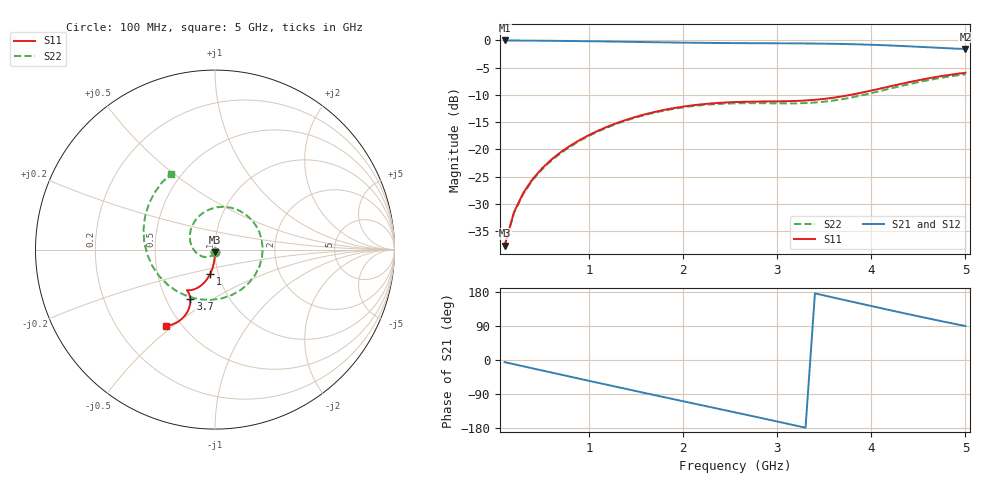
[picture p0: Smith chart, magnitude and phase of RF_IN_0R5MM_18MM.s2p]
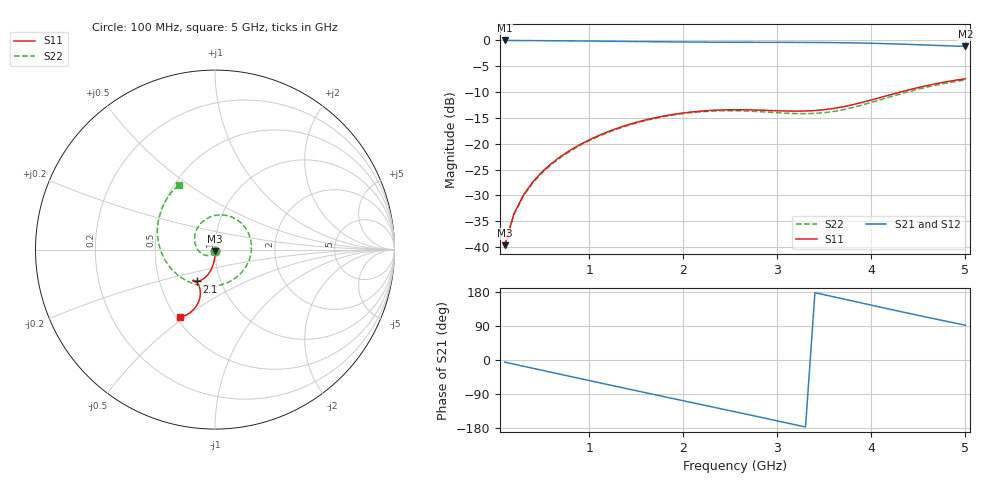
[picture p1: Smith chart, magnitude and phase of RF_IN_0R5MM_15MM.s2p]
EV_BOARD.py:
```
import skrf as rf
import matplotlib.pyplot as plt
from Functions import PLOT_s_db_Dir
from Functions import PLOT_s_db_Netw
from Functions import read_file
from skrf import Network
import numpy as np

plt.rcParams["font.family"] = "Century Gothic"
plt.rcParams["font.size"] = "14"

#Formula on plot
#https://latex.codecogs.com/eqneditor/editor.php

#First Directory
File_1 = 'Files/EV_BOARD/RF_IN_0R5MM_18MM.s2p'
File_1_label = '1.8 мм'

#Second Directory
File_2 = 'Files/EV_BOARD/RF_IN_0R5MM_15MM.s2p'
File_2_label = '1.5 мм'

File_3 = 'Files/EV_BOARD/RF_IN_Thru.s2p'
File_3_label = 'Thru'

list = ['0R2', '0R5', '1R0']
list_names = ['0.2мм', '0.5мм', '1.0мм']


epsilon = 4.7
c = 3e8
Freq = np.linspace(start=1e9, stop=5e9, num=100)
lamb= c/(Freq*np.sqrt(epsilon))
lamb_4 = lamb/4

plt.plot(Freq, lamb_4*1000, linewidth='3')
plt.ylabel(r'$\frac{\lambda }{4}$, мм,')
plt.xlabel('F, Гц')
plt.grid()



'''
for i in range(len(list)):
    NET = rf.Network(f'Files/EV_BOARD/RF_IN_{list[i]}MM_15MM.s2p')
    PLOT_s_db_Netw(NET, label=list_names[i], N_fig=1, sp=11)
    plt.grid()
    PLOT_s_db_Netw(NET, label=list_names[i], N_fig=2, sp=21)
    plt.grid()
    plt.figure(3)
    NET.plot_s_smith(1 - 1, 1 - 1, label=list_names[i], linewidth='3')
    plt.ylabel('S11')
plt.grid()
plt.show()


Data_1 = rf.Network(File_1)
Data_2 = rf.Network(File_2)
Data_3 = rf.Network(File_3)

PLOT_s_db_Netw(Data_1, label=File_1_label, N_fig=4, sp=11)
PLOT_s_db_Netw(Data_2, label=File_2_label, N_fig=4, sp=11)
plt.grid()
PLOT_s_db_Netw(Data_1, label=File_1_label, N_fig=5, sp=21)
PLOT_s_db_Netw(Data_2, label=File_2_label, N_fig=5, sp=21)
plt.grid()

plt.figure()
Data_1.plot_s_smith(1-1, 1-1, label=File_1_label, linewidth='3')
Data_2.plot_s_smith(1-1, 1-1, label=File_2_label, linewidth='3')
plt.ylabel('S11')



PLOT_s_db_Netw(Data_3, label=File_3_label, N_fig=7, sp=11)
plt.grid()
PLOT_s_db_Netw(Data_3, label=File_3_label, N_fig=8, sp=21)
plt.grid()
plt.figure()
Data_3.plot_s_smith(1-1, 1-1, label=File_3_label, linewidth='3')
plt.ylabel('S11')
'''
plt.show()
```
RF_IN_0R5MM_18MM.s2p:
! Created Tue Jul 13 10:25:20 2021
! List of port names and net name(s): example Port n = <port_name> <net_name1> <net_name2> ...
! Port 1 = P1 RF_IN GND GND
! Port 2 = P2 NetDD1_9 GND
# hz S ri R 50
! 2 Port Network Data from data block
! freq  reS11  imS11  reS21  imS21  reS12  imS12  reS22  imS22
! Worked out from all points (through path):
!   50 points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, 100 MHz to 5 GHz, reference 50 ohm
!   highest |S21| = -0.01 dB at 100 MHz (marker M1); lowest = -1.6 dB at 5 GHz (marker M2)
!   group delay of S21, straight-line fit = 150 ps
!   lowest |S11| = -37.6 dB at 100 MHz (marker M3), VSWR 1.03, Z = 50 - j1.32 ohm
!   |S11| at or under -10 dB: start of sweep to 3.774 GHz
!   |S22| runs from -37.7 to -6.2 dB; largest |S21 - S12| = 0
!   S11 on the Smith chart (normalised r, x): 100 MHz: 1.00, -0.03; 1 GHz: 0.92, -0.25; 3.7 GHz: 0.66, -0.40; 5 GHz: 0.41, -0.47
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1e8  0.000435 -0.0132  0.9936 -0.0974  0.9936 -0.0974  -0.00179 -0.0129
2e8  -0.000109 -0.0267  0.9784 -0.1926  0.9784 -0.1926  -0.0087 -0.0248
4e8  -0.00283 -0.0537  0.9208 -0.3751  0.9208 -0.3751  -0.0343 -0.0401
1e9  -0.026 -0.1335  0.5624 -0.8049  0.5624 -0.8049  -0.1316 0.0232
1.4e9  -0.0561 -0.1794  0.2221 -0.945  0.2221 -0.945  -0.1256 0.136
1.8e9  -0.094 -0.2109  -0.1378 -0.9491  -0.1378 -0.9491  -0.026 0.226
2.6e9  -0.1522 -0.2265  -0.7317 -0.5958  -0.7317 -0.5958  0.2463 0.0991
3.1e9  -0.1536 -0.2306  -0.9183 -0.1985  -0.9183 -0.1985  0.2236 -0.1411
3.7e9  -0.1375 -0.2754  -0.8655 0.3309  -0.8655 0.3309  -0.0845 -0.2773
4.4e9  -0.1744 -0.3753  -0.4492 0.7591  -0.4492 0.7591  -0.3944 0.0428
5e9  -0.2721 -0.4252  0.0057 0.8328  0.0057 0.8328  -0.2454 0.4229
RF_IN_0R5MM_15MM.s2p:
! Created Tue Jul 13 13:06:56 2021
! List of port names and net name(s): example Port n = <port_name> <net_name1> <net_name2> ...
! Port 1 = P1 RF_IN GND GND
! Port 2 = P2 NetDD1_9 GND
# hz S ri R 50
! 2 Port Network Data from data block
! freq  reS11  imS11  reS21  imS21  reS12  imS12  reS22  imS22
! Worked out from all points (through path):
!   50 points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, 100 MHz to 5 GHz, reference 50 ohm
!   highest |S21| = -0.01 dB at 100 MHz (marker M1); lowest = -1.2 dB at 5 GHz (marker M2)
!   group delay of S21, straight-line fit = 149 ps
!   lowest |S11| = -39.7 dB at 100 MHz (marker M3), VSWR 1.02, Z = 50 - j1.04 ohm
!   |S11| at or under -10 dB: start of sweep to 4.308 GHz
!   |S22| runs from -39.8 to -7.7 dB; largest |S21 - S12| = 0
!   S11 on the Smith chart (normalised r, x): 100 MHz: 1.00, -0.02; 2.1 GHz: 0.77, -0.29; 5 GHz: 0.52, -0.48
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1e8  0.000531 -0.0104  0.9938 -0.0959  0.9938 -0.0959  -0.00124 -0.0101
2e8  0.000202 -0.0211  0.9791 -0.1896  0.9791 -0.1896  -0.00666 -0.0196
3e8  -0.000559 -0.0319  0.9556 -0.2812  0.9556 -0.2812  -0.0154 -0.0271
7e8  -0.00804 -0.0753  0.7801 -0.6107  0.7801 -0.6107  -0.0697 -0.0251
1.4e9  -0.0444 -0.1448  0.2416 -0.9469  0.2416 -0.9469  -0.1048 0.1063
2.1e9  -0.0998 -0.1774  -0.3741 -0.888  -0.3741 -0.888  0.0587 0.1918
2.6e9  -0.1232 -0.1742  -0.7266 -0.6254  -0.7266 -0.6254  0.186 0.0929
3.2e9  -0.1115 -0.1742  -0.9459 -0.1424  -0.9459 -0.1424  0.1489 -0.1272
3.7e9  -0.0861 -0.2111  -0.8984 0.3055  -0.8984 0.3055  -0.0635 -0.2039
4.4e9  -0.1047 -0.3155  -0.4988 0.7667  -0.4988 0.7667  -0.3165 0.0457
5e9  -0.1964 -0.377  -0.0282 0.8738  -0.0282 0.8738  -0.2029 0.3605
